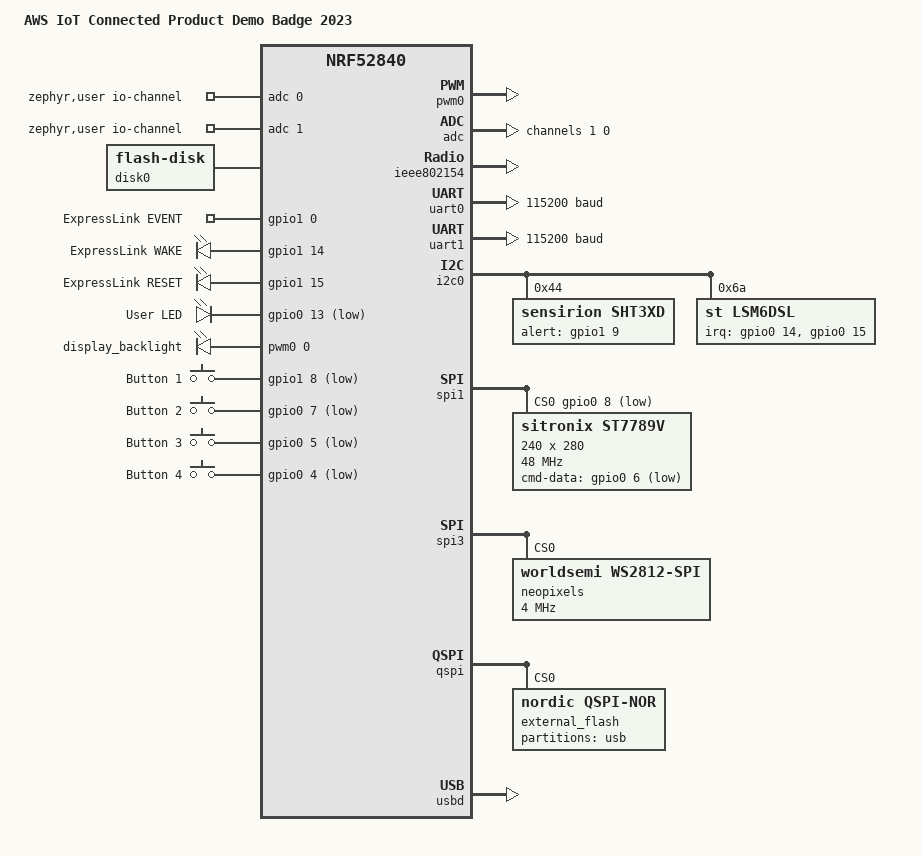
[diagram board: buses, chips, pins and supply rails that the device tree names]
// Copyright Amazon.com, Inc. or its affiliates. All Rights Reserved.
// SPDX-License-Identifier: MIT-0

/dts-v1/;
#include <nordic/nrf52840_qiaa.dtsi>
#include <zephyr/dt-bindings/gpio/gpio.h>
#include <zephyr/dt-bindings/led/led.h>

#include "demo_badge_2023-pinctrl.dtsi"

/ {
	model = "AWS IoT Connected Product Demo Badge 2023";
	compatible = "amazon-web-services,demo-badge-2023";

	chosen {
		zephyr,console = &usb_cdc_acm_uart;
		zephyr,shell-uart = &usb_cdc_acm_uart;
		// zephyr,uart-mcumgr = &usb_cdc_acm_uart;
		// zephyr,bt-mon-uart = &usb_cdc_acm_uart;
		// zephyr,bt-c2h-uart = &usb_cdc_acm_uart;
		zephyr,sram = &sram0;
		zephyr,flash = &flash0;
		zephyr,code-partition = &slot0_partition;
		zephyr,ieee802154 = &ieee802154;
		zephyr,display = &st7789v;
	};

	aliases {
		user-led = &user_led;
		display-backlight = &display_backlight;
		neopixels = &neopixels;
		button1 = &button1;
		button2 = &button2;
		button3 = &button3;
		button4 = &button4;
		ambient-light = &ambient_light;
		battery-voltage = &battery_voltage;
		expresslink-event = &expresslink_event;
		expresslink-wake = &expresslink_wake;
		expresslink-reset = &expresslink_reset;
	};

	zephyr,user {
		io-channels = <&adc 0>, <&adc 1>; // input
	};

	disk0 {
		compatible = "zephyr,flash-disk";
		partition = <&usb_partition>;
		disk-name = "USB";
		cache-size = <4096>;
	};

	expresslink_inputs {
		compatible = "gpio-keys"; // misusing it as simple input binding
		expresslink_event: event {
			gpios = <&gpio1 0 GPIO_PULL_UP>;
			label = "ExpressLink EVENT";
		};
	};

	expresslink_outputs {
		compatible = "gpio-leds"; // misusing it as simple output binding
		expresslink_wake: wake {
			gpios = <&gpio1 14 GPIO_ACTIVE_HIGH>;
			label = "ExpressLink WAKE";
		};
		expresslink_reset: reset {
			gpios = <&gpio1 15 GPIO_ACTIVE_HIGH>;
			label = "ExpressLink RESET";
		};
	};

	leds {
		compatible = "gpio-leds";
		user_led: led_0 {
			gpios = <&gpio0 13 GPIO_ACTIVE_LOW>;
			label = "User LED";
		};
	};

	pwmleds {
		compatible = "pwm-leds";
		display_backlight: pwm_led_0 {
			pwms = <&pwm0 0 PWM_MSEC(20) PWM_POLARITY_NORMAL>;
		};
	};

	buttons {
		compatible = "gpio-keys";
		button1: button_1 {
			gpios = <&gpio1 8 (GPIO_PULL_UP | GPIO_ACTIVE_LOW)>;
			label = "Button 1";
		};
		button2: button_2 {
			gpios = <&gpio0 7 (GPIO_PULL_UP | GPIO_ACTIVE_LOW)>;
			label = "Button 2";
		};
		button3: button_3 {
			gpios = <&gpio0 5 (GPIO_PULL_UP | GPIO_ACTIVE_LOW)>;
			label = "Button 3";
		};
		button4: button_4 {
			gpios = <&gpio0 4 (GPIO_PULL_UP | GPIO_ACTIVE_LOW)>;
			label = "Button 4";
		};
	};
};

&uicr {
	gpio-as-nreset;
};

&pwm0 {
	status = "okay";
	pinctrl-0 = <&pwm0_default>;
	pinctrl-1 = <&pwm0_sleep>;
	pinctrl-names = "default", "sleep";
};

&adc {
	status = "okay";
	#address-cells = <1>;
	#size-cells = <0>;

	battery_voltage: channel@1 {
		reg = <1>;
		zephyr,gain = "ADC_GAIN_1_4";
		zephyr,reference = "ADC_REF_VDD_1_4";
		zephyr,acquisition-time = <ADC_ACQ_TIME(ADC_ACQ_TIME_MICROSECONDS, 20)>;
		zephyr,input-positive = <NRF_SAADC_AIN0>;
		zephyr,resolution = <14>;
	};

	ambient_light: channel@0 {
		reg = <0>;
		zephyr,gain = "ADC_GAIN_1_4";
		zephyr,reference = "ADC_REF_VDD_1_4";
		zephyr,acquisition-time = <ADC_ACQ_TIME(ADC_ACQ_TIME_MICROSECONDS, 20)>;
		zephyr,input-positive = <NRF_SAADC_AIN1>;
		zephyr,resolution = <14>;
	};
};

&ieee802154 {
	status = "okay";
};

&gpiote {
	status = "okay";
};

&gpio0 {
	status = "okay";
};

&gpio1 {
	status = "okay";
};

&uart0 {
	compatible = "nordic,nrf-uarte";
	status = "okay";
	current-speed = <115200>;
	pinctrl-0 = <&uart0_default>;
	pinctrl-1 = <&uart0_sleep>;
	pinctrl-names = "default", "sleep";
};

&uart1 {
	compatible = "nordic,nrf-uarte";
	status = "okay";
	current-speed = <115200>;
	pinctrl-0 = <&uart1_default>;
	pinctrl-1 = <&uart1_sleep>;
	pinctrl-names = "default", "sleep";
};

&i2c0 {
	compatible = "nordic,nrf-twi";
	status = "okay";
	pinctrl-0 = <&i2c0_default>;
	pinctrl-1 = <&i2c0_sleep>;
	pinctrl-names = "default", "sleep";

	sht3xd@44 {
		compatible = "sensirion,sht3xd";
		reg = <0x44>;
		alert-gpios = <&gpio1 9 GPIO_ACTIVE_HIGH>;
	};
	lsm6dsl@6a {
		compatible = "st,lsm6dsl";
		reg = <0x6a>;
		irq-gpios = <&gpio0 14 GPIO_ACTIVE_HIGH>, <&gpio0 15 GPIO_ACTIVE_HIGH>;
	};
};

&spi1 {
	compatible = "nordic,nrf-spi";
	status = "okay";
	pinctrl-0 = <&spi1_default>;
	pinctrl-1 = <&spi1_sleep>;
	pinctrl-names = "default", "sleep";

	cs-gpios = <&gpio0 8 GPIO_ACTIVE_LOW>;

	st7789v: st7789v@0 {
		reg = <0>;
		compatible = "sitronix,st7789v";
		spi-max-frequency = <48000000>; /* 48MHz */
		cmd-data-gpios = <&gpio0 6 GPIO_ACTIVE_LOW>;    /* DC */
		// reset-gpios = <&gpioX XX GPIO_ACTIVE_LOW>;
		width = <240>;
		height = <280>;
		x-offset = <0>;
		y-offset = <20>;
		vcom = <0x19>;
		gctrl = <0x35>;
		// vrhs = <0x12>;
		// vdvs = <0x20>;
		mdac = <0x00>;
		gamma = <0x01>;
		colmod = <0x05>;
		lcm = <0x2c>;
		porch-param = [ 0c 0c 00 33 33  ];
		cmd2en-param = [ 5a 69 02 01  ];
		pwctrl1-param = [ a4 a1  ];
		pvgam-param = [ D0 04 0D 11 13 2B 3F 54 4C 18 0D 0B 1F 23  ];
		nvgam-param = [ D0 04 0C 11 13 2C 3F 44 51 2F 1F 1F 20 23  ];
		ram-param = [ 00 F8  ]; // or F0
		rgb-param = [ CD 08 14  ];
	};
};

&spi3 {
	compatible = "nordic,nrf-spim";
	status = "okay";
	pinctrl-0 = <&spi3_default>;
	pinctrl-1 = <&spi3_sleep>;
	pinctrl-names = "default", "sleep";

	// not really an SPI device, but we mis-use the SPI peripheral to drive the WS2812 data signal
	neopixels: ws2812@0 {
		compatible = "worldsemi,ws2812-spi";

		/* SPI */
		reg = <0>; /* ignored, but necessary for SPI bindings */
		spi-max-frequency = <4000000>;

		/* WS2812 */
		chain-length = <3>;
		color-mapping = <LED_COLOR_ID_GREEN LED_COLOR_ID_RED LED_COLOR_ID_BLUE>;
		spi-one-frame = <0x70>;
		spi-zero-frame = <0x40>;
	};
};

&qspi {
	status = "okay";
	pinctrl-0 = <&qspi_default>;
	pinctrl-1 = <&qspi_sleep>;
	pinctrl-names = "default", "sleep";
	external_flash: external_flash@0 {
		// using 16MB / 128Mbit flash module W25Q128BV
		compatible = "nordic,qspi-nor";
		reg = <0>;
		jedec-id = [ ef 40 18  ]; // W25Q128
		sck-frequency = <8000000>; // should go up to 50 MHz
		size-in-bytes = <16777216>;
		readoc = "read4io";
		writeoc = "pp4o";
	};
};

zephyr_udc0: &usbd {
	compatible = "nordic,nrf-usbd";
	status = "okay";

	usb_cdc_acm_uart: cdc-acm-uart {
		compatible = "zephyr,cdc-acm-uart";
		rx-fifo-size = <2048>;
	};
};

&flash0 {
	partitions {
		compatible = "fixed-partitions";
		#address-cells = <1>;
		#size-cells = <1>;

		boot_mbr_partition: partition@0 {
			label = "boot_mbr";
			reg = <0x00000000 0x00001000>;
		};

		slot0_partition: partition@1000 {
			label = "code";
			reg = <0x00001000 0x00e9000>;
		};

		storage_partition: partition@ea000 {
			label = "storage_partition";
			reg = <0x000ea000 0x0001000>;
		};

		mfg_storage: partition@eb000 {
			label = "mfg_storage";
			reg = <0x000eb000 0x0001000>;
		};

		sidewalk_storage: partition@ec000 {
			label = "sidewalk_storage";
			reg = <0x000ec000 0x0001000>;
		};

		// production (non-debug) Adafruit_nRF52_Bootloader

		bootloader_partition: partition@f4000 {
			label = "bootloader";
			reg = <0x000f4000 0x00008000>;
		};

		bootloader_config_partition: partition@fc000 {
			label = "bootloader_config_partition";
			reg = <0x00fc000 0x00002000>;
		};

		bootloader_mbr_params_partition: partition@fe000 {
			label = "bootloader_mbr_params";
			reg = <0x000fe000 0x00001000>;
		};

		bootloader_settings_partition: partition@ff000 {
			label = "bootloader_settings";
			reg = <0x000ff000 0x00001000>;
		};
	};
};

&external_flash {
	partitions {
		compatible = "fixed-partitions";
		#address-cells = <1>;
		#size-cells = <1>;

		usb_partition: partition@0 {
			label = "usb";
			reg = <0x00000000 0x00fff000>;
		};
	};
};
